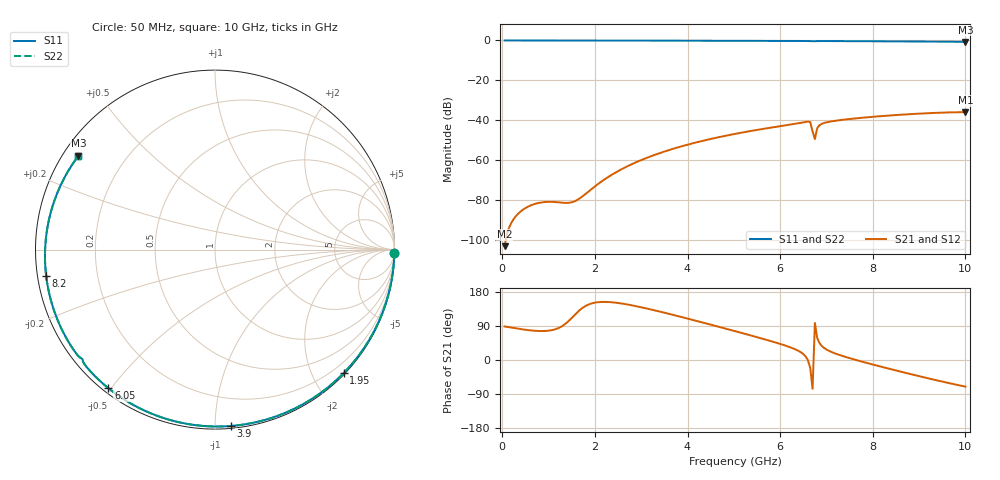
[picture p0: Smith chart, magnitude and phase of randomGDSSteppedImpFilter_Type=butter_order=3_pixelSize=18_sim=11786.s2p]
! freq	dB(S11)	phase(S11)	dB(S12)	phase(S12)
!  dB(S21)	phase(S21)	dB(S22)	phase(S22)
!S-par simulation data
#  GHz  S  DB  R 50
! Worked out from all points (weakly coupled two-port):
!   200 points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, 50 MHz to 10 GHz, reference 50 ohm
!   highest |S21| = -35.88 dB at 10 GHz (marker M1); lowest = -103.0 dB at 50 MHz (marker M2)
!   lowest |S11| = -0.7 dB at 10 GHz (marker M3), VSWR 25.04, Z = 2.19 + j15.5 ohm
!   |S11| at or under -10 dB: nowhere
!   |S22| runs from -0.7 to 0.0 dB; largest |S21 - S12| = 0
!   S11 on the Smith chart (normalised r, x): 50 MHz: 1, -98; 1.95 GHz: 0.02, -2.48; 3.9 GHz: 0.01, -1.09; 6.05 GHz: 0.02, -0.49; 8.2 GHz: 0.02, -0.08; 10 GHz: 0.04, +0.31
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0.05  -0.00 -1.2  -103.01 88.5  -103.01 88.5  -0.00 -1.2
0.8  -0.02 -18.3  -81.28 76.5  -81.28 76.5  -0.02 -18.2
1.6  -0.05 -36.2  -80.10 123.6  -80.10 123.6  -0.05 -36.1
1.75  -0.05 -39.5  -77.74 139.0  -77.74 139.0  -0.05 -39.5
1.95  -0.06 -43.8  -74.00 150.0  -74.00 150.0  -0.06 -43.8
2.25  -0.06 -50.4  -68.93 153.2  -68.93 153.2  -0.06 -50.4
2.6  -0.07 -57.9  -64.19 148.6  -64.19 148.6  -0.07 -57.9
3.4  -0.10 -74.7  -56.40 127.8  -56.40 127.8  -0.10 -74.7
3.9  -0.12 -85.0  -52.82 112.5  -52.82 112.5  -0.12 -84.9
5.05  -0.17 -107.9  -46.68 75.4  -46.68 75.4  -0.17 -107.9
6.05  -0.23 -127.5  -42.75 40.5  -42.75 40.5  -0.23 -127.5
6.6  -0.28 -138.6  -40.63 -0.7  -40.63 -0.7  -0.28 -138.5
6.65  -0.31 -139.6  -40.88 -21.1  -40.88 -21.1  -0.31 -139.6
6.7  -0.38 -140.4  -45.58 -76.0  -45.58 -76.0  -0.37 -140.4
6.75  -0.34 -141.0  -49.41 97.6  -49.41 97.6  -0.34 -140.9
6.8  -0.31 -142.0  -43.92 58.3  -43.92 58.3  -0.31 -141.9
6.85  -0.30 -143.0  -42.43 44.4  -42.43 44.4  -0.30 -143.0
6.95  -0.30 -145.1  -41.31 31.7  -41.31 31.7  -0.30 -145.1
8.2  -0.43 -171.1  -37.86 -18.3  -37.86 -18.3  -0.43 -171.0
8.35  -0.44 -174.3  -37.59 -23.0  -37.59 -23.0  -0.44 -174.3
9.2  -0.56 166.1  -36.42 -48.5  -36.42 -48.5  -0.56 166.2
10  -0.69 145.5  -35.88 -70.3  -35.88 -70.3  -0.69 145.6
